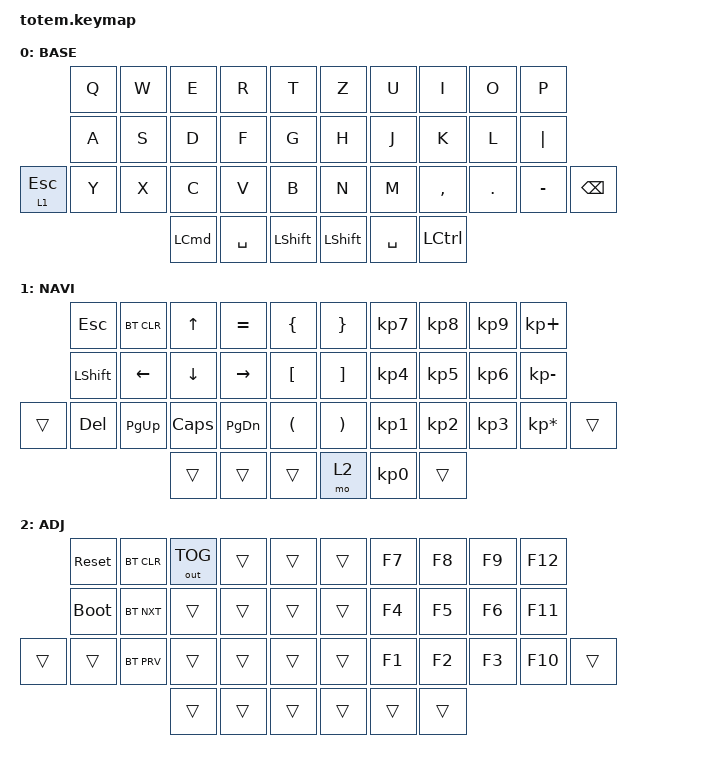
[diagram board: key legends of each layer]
//
//                                                        ▀▀▀▀▀     ▀▀▀▀▀          ▀▀█▀▀
//                                                        ▄▀▀▀▄  ▄  ▄▀▀▀▄  ▄  ▄▀▀▀▄  █  ▄▀▀▀▄
//                                                        █   █  █  █   █  █  █   █  █  █   █
//                                                         ▀▀▀   █   ▀▀▀   █   ▀▀▀   ▀   ▀▀▀
//                                                               █      ▄▄▄█▄▄▄    █   █  
//                                                               ▀      █  █  █     █▄█
//                                                             ▀▀▀▀▀    █  █  █      ▀
//                                                                      ▀  ▀  ▀
//
// ▄▄▄▄▄▄▄▄▄▄▄▄▄▄▄▄▄▄▄▄▄▄▄▄▄▄▄▄▄▄▄▄▄▄▄▄▄▄▄▄▄▄▄▄▄▄▄▄▄▄▄▄▄▄▄▄▄▄▄▄▄▄▄▄▄▄▄▄▄▄▄▄▄▄▄▄▄▄▄▄▄▄▄▄▄▄▄▄▄▄▄▄▄▄▄▄▄▄▄▄▄▄▄▄▄▄▄▄▄▄▄▄▄▄▄▄▄▄▄▄▄▄▄▄▄▄▄▄▄▄▄▄▄▄▄▄▄▄▄▄▄▄▄▄▄▄▄▄▄

#include <behaviors.dtsi>
#include <dt-bindings/zmk/bt.h>
#include <dt-bindings/zmk/keys.h>
#include <dt-bindings/zmk/outputs.h>

#define BASE 0
#define NAV  1
#define SYM  2
#define ADJ  3

&mt {
    quick-tap-ms = <100>;
    global-quick-tap;
    flavor = "tap-preferred";
    tapping-term-ms = <170>;
};

/ {
    combos {
        compatible = "zmk,combos";

        combo_esc {
            timeout-ms = <50>;
            key-positions = <0 1>;
            bindings = <&kp ESC>;
        };

        Enter {
            bindings = <&kp ENTER>;
            key-positions = <16 17 18>;
        };
    };

    keymap {
        compatible = "zmk,keymap";

        // ▄▄▄▄▄▄▄▄▄▄▄▄▄▄▄▄▄▄▄▄▄▄▄▄▄▄▄▄▄▄▄▄▄▄▄▄▄▄▄▄▄▄▄▄▄▄▄▄▄▄▄▄▄▄▄▄▄▄▄▄▄▄▄▄▄▄▄▄▄▄▄▄▄▄▄▄▄▄▄▄▄▄▄▄▄▄▄▄▄▄▄▄▄▄▄▄▄▄▄▄▄▄▄▄▄▄▄▄▄▄▄▄▄▄▄▄▄▄▄▄▄▄▄▄▄▄▄▄▄▄▄▄▄▄▄▄▄▄▄▄▄▄▄▄▄▄▄▄▄

        base_layer {
            // ┏━━━━━━━━━━━━━━━━━━━━━━━━━━━━━━━━━━━━━━━┓

            label = "BASE";

            // ┗━━━━━━━━━━━━━━━━━━━━━━━━━━━━━━━━━━━━━━━┛
            //             ┏━━━━━━━━━━━┳━━━━━━━━━━━┳━━━━━━━━━━━┳━━━━━━━━━━━┳━━━━━━━━━━━┓   ┏━━━━━━━━━━━┳━━━━━━━━━━━┳━━━━━━━━━━━┳━━━━━━━━━━━┳━━━━━━━━━━━┓
            //             ┃     Q     ┃     W     ┃     E     ┃     R     ┃     T     ┃   ┃     Y     ┃     U     ┃     I     ┃     O     ┃     P     ┃
            //             ┣━━━━━━━━━━━╋━━━━━━━━━━━╋━━━━━━━━━━━╋━━━━━━━━━━━╋━━━━━━━━━━━┫   ┣━━━━━━━━━━━╋━━━━━━━━━━━╋━━━━━━━━━━━╋━━━━━━━━━━━╋━━━━━━━━━━━┫
            //             ┃     A     ┃     S     ┃     D     ┃     F     ┃     G     ┃   ┃     H     ┃     J     ┃     K     ┃     L     ┃     ;     ┃
            // ┏━━━━━━━━━━━╋━━━━━━━━━━━╋━━━━━━━━━━━╋━━━━━━━━━━━╋━━━━━━━━━━━╋━━━━━━━━━━━┫   ┣━━━━━━━━━━━╋━━━━━━━━━━━╋━━━━━━━━━━━╋━━━━━━━━━━━╋━━━━━━━━━━━╋━━━━━━━━━━━┓
            // ┃     Q     ┃     Z     ┃     X     ┃     C     ┃     V     ┃     B     ┃   ┃     N     ┃     M     ┃     ,     ┃     .     ┃     /     ┃     \     ┃
            // ┗━━━━━━━━━━━┻━━━━━━━━━━━┻━━━━━━━━━━━╋━━━━━━━━━━━╋━━━━━━━━━━━╋━━━━━━━━━━━┫   ┣━━━━━━━━━━━╋━━━━━━━━━━━╋━━━━━━━━━━━╋━━━━━━━━━━━┻━━━━━━━━━━━┻━━━━━━━━━━━┛
            //                                     ┃    DEL    ┃    TAB    ┃    SPC    ┃   ┃   ENTER   ┃           ┃   BSPC    ┃
            //                                     ┗━━━━━━━━━━━┻━━━━━━━━━━━┻━━━━━━━━━━━┛   ┗━━━━━━━━━━━┻━━━━━━━━━━━┻━━━━━━━━━━━┛

            bindings = <
              &kp Q  &kp W  &kp E             &kp R      &kp T             &kp Z           &kp U      &kp I      &kp O    &kp P
              &kp A  &kp S  &kp D             &kp F      &kp G             &kp H           &kp J      &kp K      &kp L    &kp PIPE
&lt 1 ESCAPE  &kp Y  &kp X  &kp C             &kp V      &kp B             &kp N           &kp M      &kp COMMA  &kp DOT  &kp MINUS  &kp BACKSPACE
                            &kp LEFT_COMMAND  &kp SPACE  &kp LEFT_SHIFT    &kp LEFT_SHIFT  &kp SPACE  &kp LCTRL
            >;
        };

        // ▄▄▄▄▄▄▄▄▄▄▄▄▄▄▄▄▄▄▄▄▄▄▄▄▄▄▄▄▄▄▄▄▄▄▄▄▄▄▄▄▄▄▄▄▄▄▄▄▄▄▄▄▄▄▄▄▄▄▄▄▄▄▄▄▄▄▄▄▄▄▄▄▄▄▄▄▄▄▄▄▄▄▄▄▄▄▄▄▄▄▄▄▄▄▄▄▄▄▄▄▄▄▄▄▄▄▄▄▄▄▄▄▄▄▄▄▄▄▄▄▄▄▄▄▄▄▄▄▄▄▄▄▄▄▄▄▄▄▄▄▄▄▄▄▄▄▄▄▄

        nav_layer {
            // ┏━━━━━━━━━━━━━━━━━━━━━━━━━━━━━━━━━━━━━━━┓

            label = "NAVI";

            // ┗━━━━━━━━━━━━━━━━━━━━━━━━━━━━━━━━━━━━━━━┛
            //             ┏━━━━━━━━━━━┳━━━━━━━━━━━┳━━━━━━━━━━━┳━━━━━━━━━━━┳━━━━━━━━━━━┓   ┏━━━━━━━━━━━┳━━━━━━━━━━━┳━━━━━━━━━━━┳━━━━━━━━━━━┳━━━━━━━━━━━┓
            //             ┃           ┃           ┃     UP    ┃           ┃     {     ┃   ┃     }     ┃     7     ┃     8     ┃     9     ┃     +     ┃
            //             ┣━━━━━━━━━━━╋━━━━━━━━━━━╋━━━━━━━━━━━╋━━━━━━━━━━━╋━━━━━━━━━━━┫   ┣━━━━━━━━━━━╋━━━━━━━━━━━╋━━━━━━━━━━━╋━━━━━━━━━━━╋━━━━━━━━━━━┫
            //             ┃   SHIFT   ┃   LEFT    ┃    DOWN   ┃   RIGHT   ┃     [     ┃   ┃     ]     ┃     4     ┃     5     ┃     6     ┃     -     ┃
            // ┏━━━━━━━━━━━╋━━━━━━━━━━━╋━━━━━━━━━━━╋━━━━━━━━━━━╋━━━━━━━━━━━╋━━━━━━━━━━━┫   ┣━━━━━━━━━━━╋━━━━━━━━━━━╋━━━━━━━━━━━╋━━━━━━━━━━━╋━━━━━━━━━━━╋━━━━━━━━━━━┓
            // ┃           ┃           ┃   P UP    ┃  C LOCK   ┃  P DOWN   ┃     (     ┃   ┃     )     ┃     1     ┃     2     ┃     3     ┃     *     ┃           ┃
            // ┗━━━━━━━━━━━┻━━━━━━━━━━━┻━━━━━━━━━━━╋━━━━━━━━━━━╋━━━━━━━━━━━╋━━━━━━━━━━━┫   ┣━━━━━━━━━━━╋━━━━━━━━━━━╋━━━━━━━━━━━╋━━━━━━━━━━━┻━━━━━━━━━━━┻━━━━━━━━━━━┛
            //                                     ┃           ┃    TAB    ┃    SPC    ┃   ┃    DEL    ┃     0     ┃           ┃
            //                                     ┗━━━━━━━━━━━┻━━━━━━━━━━━┻━━━━━━━━━━━┛   ┗━━━━━━━━━━━┻━━━━━━━━━━━┻━━━━━━━━━━━┛

            bindings = <
        &kp ESC    &bt BT_CLR  &kp UP    &kp EQUAL  &kp LBRC    &kp RBRC  &kp KP_N7  &kp KP_N8  &kp KP_N9  &kp KP_PLUS
        &kp LSHFT  &kp LEFT    &kp DOWN  &kp RIGHT  &kp LBKT    &kp RBKT  &kp KP_N4  &kp KP_N5  &kp KP_N6  &kp KP_MINUS
&trans  &kp DEL    &kp PG_UP   &kp CAPS  &kp PG_DN  &kp LPAR    &kp RPAR  &kp KP_N1  &kp KP_N2  &kp KP_N3  &kp KP_MULTIPLY  &trans
                               &trans    &trans     &trans      &mo 2     &kp KP_N0  &trans
            >;
        };

        // ▄▄▄▄▄▄▄▄▄▄▄▄▄▄▄▄▄▄▄▄▄▄▄▄▄▄▄▄▄▄▄▄▄▄▄▄▄▄▄▄▄▄▄▄▄▄▄▄▄▄▄▄▄▄▄▄▄▄▄▄▄▄▄▄▄▄▄▄▄▄▄▄▄▄▄▄▄▄▄▄▄▄▄▄▄▄▄▄▄▄▄▄▄▄▄▄▄▄▄▄▄▄▄▄▄▄▄▄▄▄▄▄▄▄▄▄▄▄▄▄▄▄▄▄▄▄▄▄▄▄▄▄▄▄▄▄▄▄▄▄▄▄▄▄▄▄▄▄▄
        // ▄▄▄▄▄▄▄▄▄▄▄▄▄▄▄▄▄▄▄▄▄▄▄▄▄▄▄▄▄▄▄▄▄▄▄▄▄▄▄▄▄▄▄▄▄▄▄▄▄▄▄▄▄▄▄▄▄▄▄▄▄▄▄▄▄▄▄▄▄▄▄▄▄▄▄▄▄▄▄▄▄▄▄▄▄▄▄▄▄▄▄▄▄▄▄▄▄▄▄▄▄▄▄▄▄▄▄▄▄▄▄▄▄▄▄▄▄▄▄▄▄▄▄▄▄▄▄▄▄▄▄▄▄▄▄▄▄▄▄▄▄▄▄▄▄▄▄▄▄

        adjust_layer {
            // ┏━━━━━━━━━━━━━━━━━━━━━━━━━━━━━━━━━━━━━━━┓

            label = "ADJ";

            // ┗━━━━━━━━━━━━━━━━━━━━━━━━━━━━━━━━━━━━━━━┛
            //             ┏━━━━━━━━━━━┳━━━━━━━━━━━┳━━━━━━━━━━━┳━━━━━━━━━━━┳━━━━━━━━━━━┓   ┏━━━━━━━━━━━┳━━━━━━━━━━━┳━━━━━━━━━━━┳━━━━━━━━━━━┳━━━━━━━━━━━┓
            //             ┃   RESET   ┃ BT CLEAR  ┃  OUT TOG  ┃           ┃           ┃   ┃           ┃    F7     ┃    F8     ┃    F9     ┃    F12    ┃
            //             ┣━━━━━━━━━━━╋━━━━━━━━━━━╋━━━━━━━━━━━╋━━━━━━━━━━━╋━━━━━━━━━━━┫   ┣━━━━━━━━━━━╋━━━━━━━━━━━╋━━━━━━━━━━━╋━━━━━━━━━━━╋━━━━━━━━━━━┫
            //             ┃ BOOTLOAD  ┃ BT NEXT   ┃           ┃           ┃           ┃   ┃           ┃    F4     ┃    F5     ┃    F6     ┃    F11    ┃
            // ┏━━━━━━━━━━━╋━━━━━━━━━━━╋━━━━━━━━━━━╋━━━━━━━━━━━╋━━━━━━━━━━━╋━━━━━━━━━━━┫   ┣━━━━━━━━━━━╋━━━━━━━━━━━╋━━━━━━━━━━━╋━━━━━━━━━━━╋━━━━━━━━━━━╋━━━━━━━━━━━┓
            // ┃           ┃           ┃ BT PREV   ┃           ┃           ┃           ┃   ┃           ┃    F1     ┃    F2     ┃    F3     ┃    F10    ┃           ┃
            // ┗━━━━━━━━━━━┻━━━━━━━━━━━┻━━━━━━━━━━━╋━━━━━━━━━━━╋━━━━━━━━━━━╋━━━━━━━━━━━┫   ┣━━━━━━━━━━━╋━━━━━━━━━━━╋━━━━━━━━━━━╋━━━━━━━━━━━┻━━━━━━━━━━━┻━━━━━━━━━━━┛
            //                                     ┃           ┃           ┃           ┃   ┃           ┃           ┃           ┃
            //                                     ┗━━━━━━━━━━━┻━━━━━━━━━━━┻━━━━━━━━━━━┛   ┗━━━━━━━━━━━┻━━━━━━━━━━━┻━━━━━━━━━━━┛

            bindings = <
        &sys_reset   &bt BT_CLR  &out OUT_TOG  &trans  &trans    &trans  &kp F7  &kp F8  &kp F9  &kp F12
        &bootloader  &bt BT_NXT  &trans        &trans  &trans    &trans  &kp F4  &kp F5  &kp F6  &kp F11
&trans  &trans       &bt BT_PRV  &trans        &trans  &trans    &trans  &kp F1  &kp F2  &kp F3  &kp F10  &trans
                                 &trans        &trans  &trans    &trans  &trans  &trans
            >;
        };
    };
};
